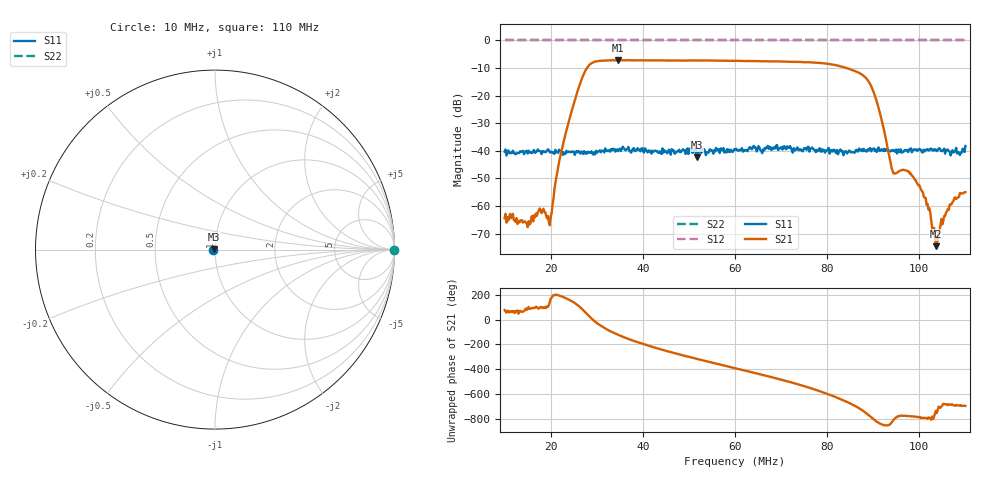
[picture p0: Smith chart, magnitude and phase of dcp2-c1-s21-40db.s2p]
! Anritsu VNA Master:  Model: MS2034B/10/19/501
! SN:  1337062
! /bd0/ovro-jan-2016/dcp2-c1-s21-40db.s2p
! Existing Calibration Information:
! TYPE:  Current Settings,  Active Cal Settings
! TIME:  01/12/2016 06:25:47 PM,  01/12/2016 05:57:47 PM
! INTERNAL TEMP:  43.3 C,  46.0 C
! # POINTS:  500,  500
! START FREQ:  10.000 MHz,  10.000 MHz
! STOP FREQ:  110.000 MHz,  110.000 MHz
! SOURCE POWER:  Low,  Low
! IFBW:  100 Hz,  1 kHz
! AVG FACTOR:  3 ,  3
! REF PLANE 1:  0 mm,  0 mm
! REF PLANE 2:  0 mm,  0 mm
! CAL TYPE:  1P2P S11,S21,  1P2P S11,S21
! CAL METHOD:  SOLT,  SOLT
! CAL LINE TYPE:  Coax,  Coax
! DUT PORT 1:  K-Conn(M),  K-Conn(M)
! DUT PORT 2:  N-Conn(M),  N-Conn(M)
! CAL STATUS:  OK: Accuracy High,  --
# GHZ S DB R 50.0
! FREQ.GHZ  S11DB  S11A  S21DB  S21A  S12DB  S12A  S22DB  S22A
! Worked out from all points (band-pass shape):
!   500 points, 10 MHz to 110 MHz, reference 50 ohm
!   highest |S21| = -7.11 dB at 34.65 MHz (marker M1); lowest = -74.5 dB at 103.6 MHz (marker M2)
!   |S21| within 3 dB of the highest: 27.83 MHz to 84.41 MHz (56.58 MHz wide, 101 % of centre)
!   lowest |S11| = -42.3 dB at 51.68 MHz (marker M3), VSWR 1.02, Z = 49.3 + j0.146 ohm
!   |S11| at or under -10 dB: start of sweep to end of sweep
!   |S22| runs from 0.0 to 0.0 dB; largest |S21 - S12| = 1.4
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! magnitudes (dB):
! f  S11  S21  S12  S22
! 10 MHz  -40.3  -64.4  0.0  0.0
! 15.21 MHz  -39.9  -65.5  0.0  0.0
! 18.02 MHz  -41.2  -62.6  0.0  0.0
! 19.82 MHz  -40.6  -67.0  0.0  0.0
! 22.42 MHz  -40.1  -39.6  0.0  0.0
! 26.83 MHz  -40.5  -13.6  0.0  0.0
! 29.04 MHz  -40.9  -8.1  0.0  0.0
! 34.65 MHz  -40.1  -7.1  0.0  0.0
! 43.47 MHz  -40.7  -7.2  0.0  0.0
! 51.68 MHz  -42.3  -7.3  0.0  0.0
! 60.1 MHz  -39.5  -7.4  0.0  0.0
! 76.73 MHz  -38.8  -8.0  0.0  0.0
! 88.56 MHz  -40.3  -13.9  0.0  0.0
! 90.76 MHz  -40.4  -22.1  0.0  0.0
! 93.37 MHz  -39.7  -41.1  0.0  0.0
! 94.57 MHz  -40.0  -48.3  0.0  0.0
! 97.37 MHz  -39.8  -47.3  0.0  0.0
! 100.4 MHz  -39.6  -54.2  0.0  0.0
! 102 MHz  -39.9  -61.3  0.0  0.0
! 103.6 MHz  -39.5  -74.5  0.0  0.0
! 107 MHz  -40.4  -59.3  0.0  0.0
! 110 MHz  -38.2  -55.0  0.0  0.0
